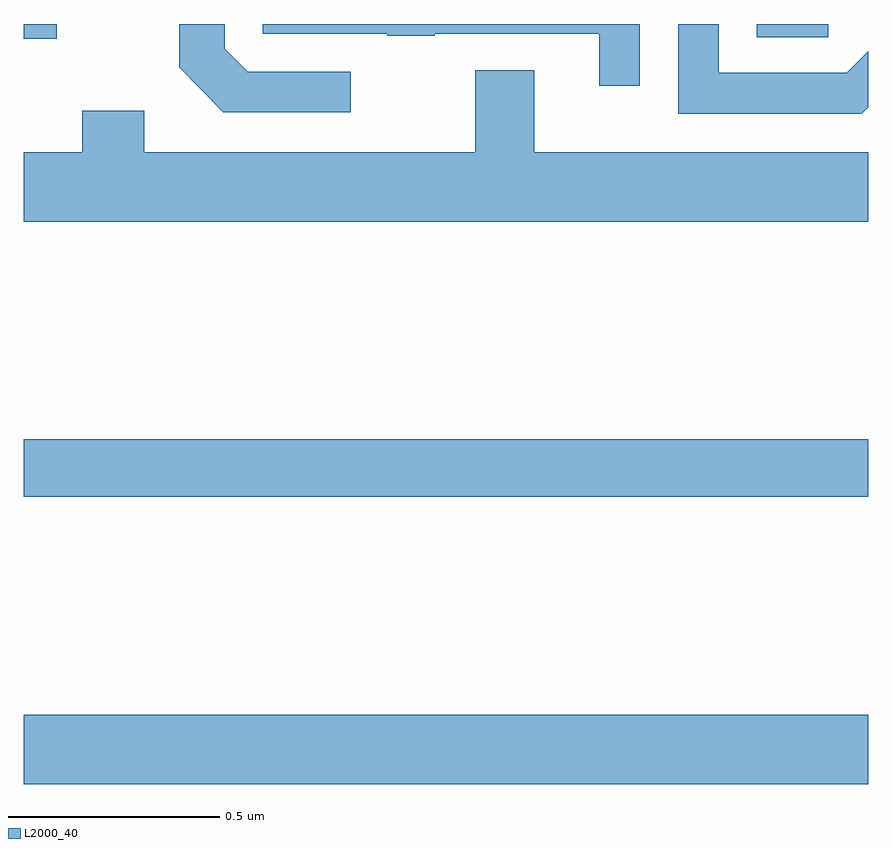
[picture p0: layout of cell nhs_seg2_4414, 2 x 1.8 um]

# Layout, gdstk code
import gdstk
lib = gdstk.Library(unit=1e-6, precision=1e-09)
def R(c, l, rs):  # rectangles x0, y0, x1, y1
    for r in rs: c.add(gdstk.rectangle(r[:2], r[2:], *l))
def P(c, l, *ps):  # polygons
    for p in ps: c.add(gdstk.Polygon(p, *l))
L2000_40 = (2000, 40)

nhs_seg2_4414 = lib.new_cell('nhs_seg2_4414')
R(nhs_seg2_4414, L2000_40, [(166,617,168,617.164), (166,617.68,168,617.816), (166,618.765,166.078,618.8), (167.736,618.769,167.905,618.8)])
P(nhs_seg2_4414, L2000_40, [(166.774,618.687),(166.53,618.687),(166.476,618.741),(166.476,618.8),(166.368,618.8),(166.368,618.697),(166.473,618.591),(166.774,618.591)],
  [(167.459,618.8),(166.566,618.8),(166.566,618.777),(166.861,618.777),(166.861,618.772),(166.973,618.772),(166.973,618.777),(167.363,618.777),(167.363,618.654),(167.459,618.654)],
  [(168,618.603),(168,618.735),(167.949,618.684),(167.646,618.684),(167.646,618.8),(167.55,618.8),(167.55,618.588),(167.985,618.588)],
  [(168,618.496),(167.209,618.496),(167.209,618.691),(167.069,618.691),(167.069,618.496),(166.285,618.496),(166.285,618.595),(166.138,618.595),(166.138,618.496),(166,618.496),(166,618.332),(168,618.332)])

lib.write_gds('nhs_seg2_4414.gds')
